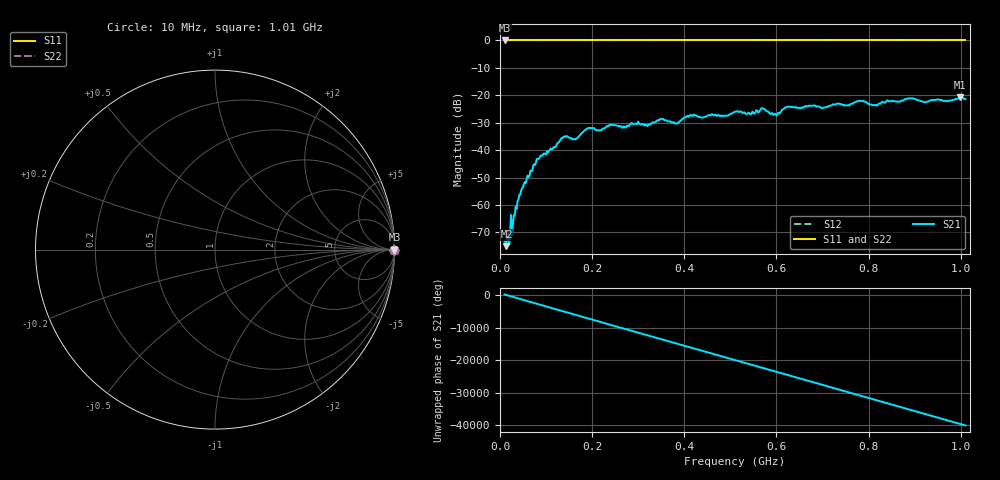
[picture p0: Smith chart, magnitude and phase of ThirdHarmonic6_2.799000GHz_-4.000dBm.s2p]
! 8/17/2025 7:16:52 AM
! C:\ANRITSUVNA\TEMP\TEMP.S2P
! CHANNEL.1
! TR.MEASUREMENT
! RAW.DATA
! RF.CORRECTION.OFF
! AVERAGING.OFF
! IF.BANDWIDTH: 5KHZ
! SWEEPTYPE:  FREQ.SWEEP(Linear)
! Reference Plane Port Info
! PORT:  PORT1  PORT2
! DISTANCE:  0  m  0  m
! TIME:  0  s  0  s
! PHASE.OFFSET:  0  deg.  0  deg.
! LOSS:  0  dB  0  dB
! REF.LOSS:  0  dB  0  dB
! REF.FREQ:  0  Hz  0  Hz
! Power Info
! POWER:  -20  dBm  -20  dBm
! EFF.POWER:  -20  dBm  -20  dBm
! SOURCE.ATTEN:  0  dB  0  dB
! TEST.ATTEN:  0  dB  0  dB
# GHZ S RI R 50.0
! FREQ.GHZ  S11RE  S11IM  S21RE  S21IM  S12RE  S12IM  S22RE  S22IM
!; PortSelection: Port_12
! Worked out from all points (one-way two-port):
!   501 points, 10 MHz to 1.01 GHz, reference 50 ohm
!   highest |S21| = -20.72 dB at 998 MHz (marker M1); lowest = -75.0 dB at 14 MHz (marker M2)
!   lowest |S11| = 0.0 dB at 10 MHz (marker M3)
!   |S11| at or under -10 dB: nowhere
!   |S22| runs from 0.0 to 0.0 dB; largest |S21 - S12| = 1.1
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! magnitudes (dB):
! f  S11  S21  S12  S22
! 10 MHz  0.0  -73.3  0.0  0.0
! 14 MHz  0.0  -75.0  0.0  0.0
! 24 MHz  0.0  -63.7  0.0  0.0
! 38 MHz  0.0  -58.6  0.0  0.0
! 50 MHz  0.0  -53.4  0.0  0.0
! 84 MHz  0.0  -43.1  0.0  0.0
! 136 MHz  0.0  -35.5  0.0  0.0
! 162 MHz  0.0  -36.0  0.0  0.0
! 178 MHz  0.0  -33.7  0.0  0.0
! 194 MHz  0.0  -31.9  0.0  0.0
! 318 MHz  0.0  -30.9  0.0  0.0
! 344 MHz  0.0  -29.2  0.0  0.0
! 384 MHz  0.0  -30.2  0.0  0.0
! 410 MHz  0.0  -27.9  0.0  0.0
! 510 MHz  0.0  -26.0  0.0  0.0
! 570 MHz  0.0  -24.7  0.0  0.0
! 598 MHz  0.0  -26.9  0.0  0.0
! 622 MHz  0.0  -24.3  0.0  0.0
! 678 MHz  0.0  -23.8  0.0  0.0
! 844 MHz  0.0  -22.2  0.0  0.0
! 998 MHz  0.0  -20.7  0.0  0.0
! 1.01 GHz  0.0  -21.4  0.0  0.0
